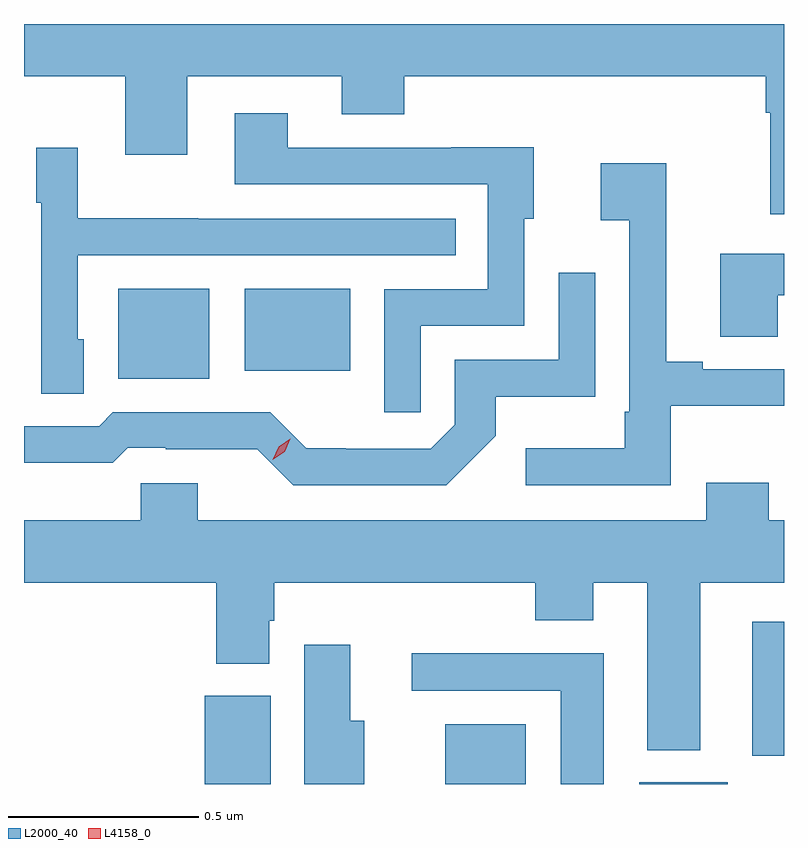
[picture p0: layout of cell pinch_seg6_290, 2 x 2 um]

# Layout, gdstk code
import gdstk
lib = gdstk.Library(unit=1e-6, precision=1e-09)
def R(c, l, rs):  # rectangles x0, y0, x1, y1
    for r in rs: c.add(gdstk.rectangle(r[:2], r[2:], *l))
def P(c, l, *ps):  # polygons
    for p in ps: c.add(gdstk.Polygon(p, *l))
L2000_40 = (2000, 40)
L4158_0 = (4158, 0)

pinch_seg6_290 = lib.new_cell('pinch_seg6_290')
R(pinch_seg6_290, L2000_40, [(869.507,990.762,869.68,990.994), (870.14,990.762,870.352,990.919), (870.65,990.762,870.883,990.766), (870.947,990.836,871.031,991.189), (869.279,991.829,869.518,992.065), (869.612,991.85,869.89,992.065)])
P(pinch_seg6_290, L2000_40, [(871.031,992.762),(869.031,992.762),(869.031,992.624),(869.297,992.624),(869.297,992.418),(869.461,992.418),(869.461,992.624),(869.867,992.624),(869.867,992.525),(870.031,992.525),(870.031,992.624),(870.983,992.624),(870.983,992.528),(870.995,992.528),(870.995,992.262),(871.031,992.262)],
  [(870.075,991.968),(870.348,991.968),(870.348,992.25),(870.373,992.25),(870.373,992.438),(870.155,992.438),(870.155,992.436),(869.725,992.436),(869.725,992.527),(869.585,992.527),(869.585,992.34),(870.252,992.34),(870.252,992.064),(869.979,992.064),(869.979,991.74),(870.075,991.74)],
  [(869.188,991.932),(869.172,991.932),(869.172,992.154),(870.167,992.154),(870.167,992.25),(869.489,992.25),(869.489,992.251),(869.172,992.251),(869.172,992.437),(869.063,992.437),(869.063,992.292),(869.076,992.292),(869.076,991.789),(869.188,991.789)],
  [(870.733,991.757),(871.031,991.757),(871.031,991.854),(870.817,991.854),(870.817,991.873),(870.721,991.873),(870.721,992.395),(870.549,992.395),(870.549,992.246),(870.624,992.246),(870.624,991.741),(870.612,991.741),(870.612,991.645),(870.351,991.645),(870.351,991.548),(870.733,991.548)],
  [(871.015,992.048),(871.031,992.048),(871.031,992.158),(870.863,992.158),(870.863,991.939),(871.015,991.939)],
  [(870.273,991.679),(870.273,991.781),(870.534,991.781),(870.534,992.107),(870.438,992.107),(870.438,991.878),(870.165,991.878),(870.165,991.707),(870.102,991.644),(869.878,991.644),(869.878,991.646),(869.774,991.646),(869.679,991.74),(869.265,991.74),(869.229,991.704),(869.031,991.704),(869.031,991.608),(869.265,991.608),(869.304,991.647),(869.404,991.647),(869.404,991.643),(869.645,991.643),(869.739,991.548),(870.142,991.548)],
  [(870.811,991.292),(871.031,991.292),(871.031,991.456),(870.991,991.456),(870.991,991.555),(870.827,991.555),(870.827,991.456),(869.488,991.456),(869.488,991.554),(869.338,991.554),(869.338,991.456),(869.031,991.456),(869.031,991.292),(869.537,991.292),(869.537,991.079),(869.677,991.079),(869.677,991.191),(869.69,991.191),(869.69,991.292),(870.377,991.292),(870.377,991.193),(870.529,991.193),(870.529,991.292),(870.671,991.292),(870.671,990.851),(870.811,990.851)],
  [(869.926,990.928),(869.89,990.928),(869.89,991.129),(869.768,991.129),(869.768,990.762),(869.926,990.762)],
  [(870.556,991.106),(870.051,991.106),(870.051,991.008),(870.443,991.008),(870.443,990.762),(870.556,990.762)])
P(pinch_seg6_290, L4158_0, [(869.686,991.615),(869.686,991.615),(869.701,991.649),(869.731,991.671),(869.732,991.671),(869.732,991.671),(869.717,991.636),(869.686,991.615)])

lib.write_gds('pinch_seg6_290.gds')
